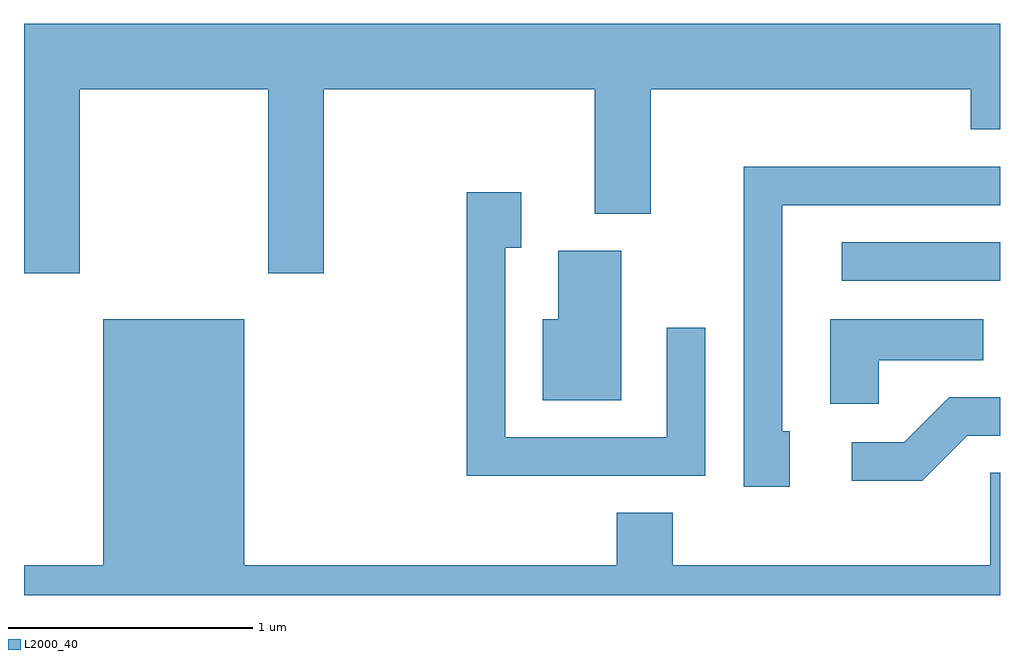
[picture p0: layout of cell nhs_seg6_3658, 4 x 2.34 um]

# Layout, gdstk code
import gdstk
lib = gdstk.Library(unit=1e-6, precision=1e-09)
def R(c, l, rs):  # rectangles x0, y0, x1, y1
    for r in rs: c.add(gdstk.rectangle(r[:2], r[2:], *l))
def P(c, l, *ps):  # polygons
    for p in ps: c.add(gdstk.Polygon(p, *l))
L2000_40 = (2000, 40)

nhs_seg6_3658 = lib.new_cell('nhs_seg6_3658')
R(nhs_seg6_3658, L2000_40, [(298.963,1571.451,299.611,1571.609)])
P(nhs_seg6_3658, L2000_40, [(295.839,1572.236),(296.611,1572.236),(296.611,1571.481),(296.839,1571.481),(296.839,1572.236),(297.951,1572.236),(297.951,1571.726),(298.179,1571.726),(298.179,1572.236),(299.491,1572.236),(299.491,1572.071),(299.611,1572.071),(299.611,1572.504),(295.611,1572.504),(295.611,1571.481),(295.839,1571.481)],
  [(298.749,1570.834),(298.719,1570.834),(298.719,1571.761),(299.611,1571.761),(299.611,1571.919),(298.561,1571.919),(298.561,1570.606),(298.749,1570.606)],
  [(298.404,1571.258),(298.246,1571.258),(298.246,1570.809),(297.584,1570.809),(297.584,1571.586),(297.649,1571.586),(297.649,1571.814),(297.426,1571.814),(297.426,1570.651),(298.404,1570.651)],
  [(298.059,1571.574),(297.801,1571.574),(297.801,1571.294),(297.736,1571.294),(297.736,1570.961),(298.059,1570.961)],
  [(299.611,1570.664),(299.571,1570.664),(299.571,1570.284),(298.269,1570.284),(298.269,1570.499),(298.041,1570.499),(298.041,1570.284),(296.514,1570.284),(296.514,1571.294),(295.936,1571.294),(295.936,1570.284),(295.611,1570.284),(295.611,1570.162),(299.611,1570.162)],
  [(299.114,1571.126),(299.543,1571.126),(299.543,1571.294),(298.916,1571.294),(298.916,1570.946),(299.114,1570.946)],
  [(299.477,1570.816),(299.611,1570.816),(299.611,1570.974),(299.404,1570.974),(299.219,1570.789),(299.003,1570.789),(299.003,1570.631),(299.292,1570.631)])

lib.write_gds('nhs_seg6_3658.gds')
